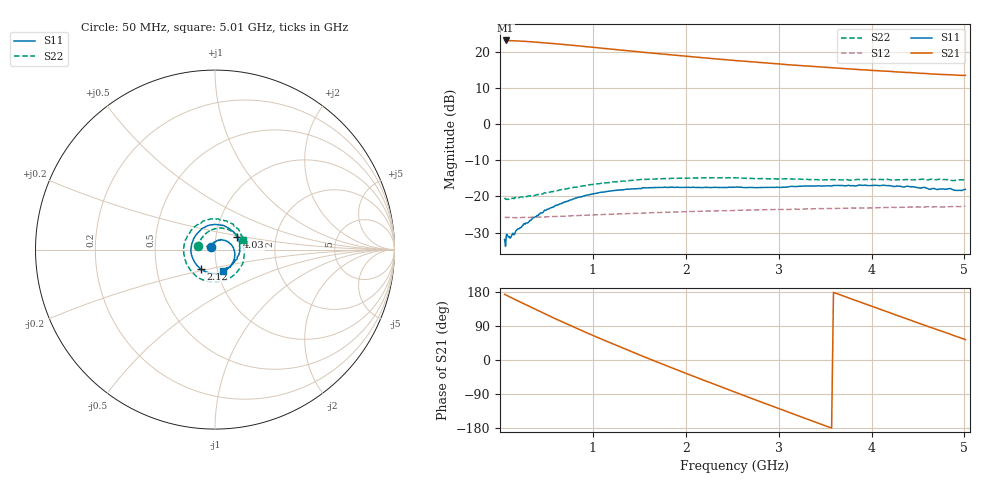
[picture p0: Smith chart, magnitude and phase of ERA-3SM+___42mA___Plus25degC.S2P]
! Mini-Circuits
! S2P DATA File Format
! Type: MMIC Amplifier
! Model: ERA-3SM  Reference Data: RDF-1128B
! Note: All S Parameters are in dB deg format
! TEST CONDITIONS: INPUT POWER = -25dBm, Icc = 42mA, Vd = 3.27V @Temperature = +25degC
! 401 Frequency points
# MHz S DB R 50
!  FREQ  dB(S11)  PHS(S11)  dB(S21)  PHS(S21)  dB(S12)  PHS(S12)  dB(S22)  PHS(S22)
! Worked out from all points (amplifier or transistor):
!   401 points, 50 MHz to 5.01 GHz, reference 50 ohm
!   highest |S21| = 23.2 dB at 60 MHz (marker M1)
!   |S21| within 3 dB of that: start of sweep to 1.439 GHz
!   unconditionally stable (mu >= 1): start of sweep to end of sweep
!   at 710 MHz: K = 1.05, MAG = 22.4 dB, |S12| = -25.5 dB
!   at 2.05 GHz: K = 1.13, MAG = 19.2 dB, |S12| = -24.2 dB
!   at 5.01 GHz: K = 1.56, MAG = 13.7 dB, |S12| = -22.7 dB
!   S11 on the Smith chart (normalised r, x): 50 MHz: 0.96, +0.03; 2.12 GHz: 0.83, -0.18; 4.03 GHz: 1.27, +0.18; 5.01 GHz: 1.07, -0.25
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50  -31.94 144.6  23.23 173.3  -25.85 -4.4  -20.36 168.4
60  -33.79 145.8  23.23 172.1  -25.77 -4.4  -20.76 167.4
250  -27.89 99.3  23.00 149.2  -25.82 -14.2  -20.30 135.9
470  -24.20 61.4  22.62 123.3  -25.70 -26.1  -19.10 102.9
670  -21.82 34.8  22.16 100.6  -25.48 -37.5  -18.03 74.1
880  -20.07 9.5  21.64 77.7  -25.26 -50.5  -17.14 47.1
1090  -18.80 -14.3  21.11 55.4  -25.03 -63.6  -16.35 21.6
1290  -18.16 -36.3  20.61 34.9  -24.82 -76.2  -15.83 -0.9
1500  -17.80 -58.6  20.08 13.6  -24.65 -89.7  -15.37 -23.3
1710  -17.47 -81.4  19.56 -7.0  -24.48 -103.4  -15.12 -45.4
1920  -17.47 -105.0  19.05 -27.4  -24.28 -117.3  -14.98 -66.3
2120  -17.52 -126.6  18.59 -46.5  -24.16 -130.4  -14.87 -85.6
2320  -17.45 -148.7  18.14 -65.4  -24.04 -144.0  -14.81 -105.4
2530  -17.44 -172.2  17.67 -84.9  -23.86 -158.0  -14.83 -125.7
2750  -17.57 162.6  17.25 -105.3  -23.73 -172.7  -15.07 -146.2
2990  -17.48 136.1  16.75 -127.3  -23.59 170.8  -15.17 -168.6
3370  -17.14 95.3  16.03 -161.6  -23.45 145.6  -15.32 154.6
3670  -16.98 63.7  15.52 171.4  -23.30 125.0  -15.39 127.3
4030  -16.92 29.4  14.90 139.5  -23.14 100.3  -15.30 96.2
4190  -17.00 12.3  14.68 125.4  -23.10 89.5  -15.34 82.7
4570  -17.47 -23.0  14.09 91.9  -22.97 63.1  -15.29 53.0
5010  -18.05 -68.6  13.57 53.8  -22.69 33.5  -15.66 18.1
